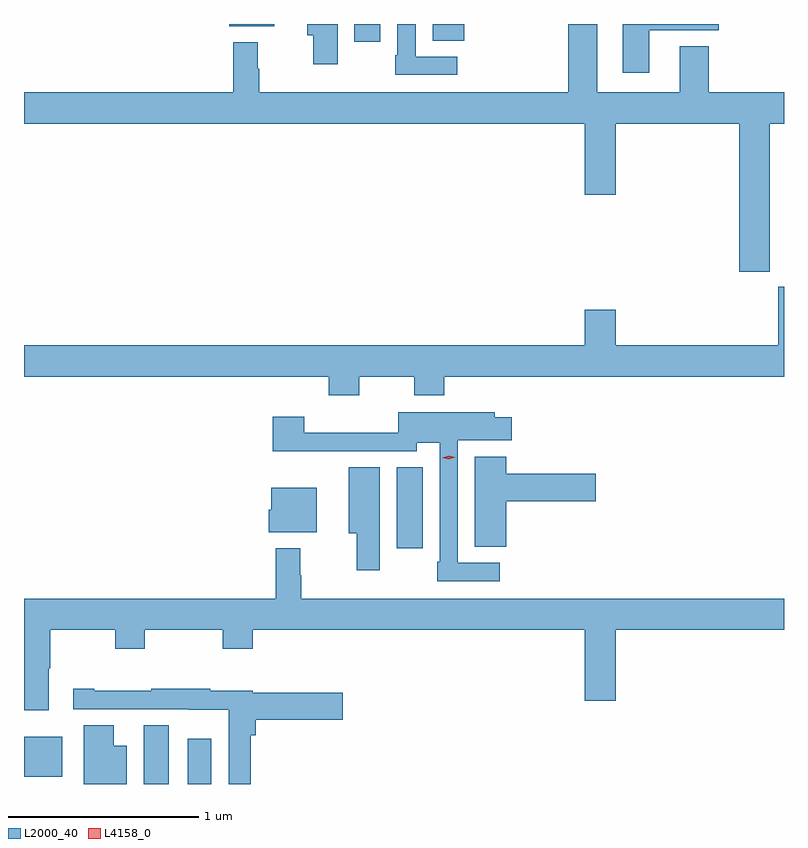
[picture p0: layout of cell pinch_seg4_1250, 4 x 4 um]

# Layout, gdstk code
import gdstk
lib = gdstk.Library(unit=1e-6, precision=1e-09)
def R(c, l, rs):  # rectangles x0, y0, x1, y1
    for r in rs: c.add(gdstk.rectangle(r[:2], r[2:], *l))
def P(c, l, *ps):  # polygons
    for p in ps: c.add(gdstk.Polygon(p, *l))
L2000_40 = (2000, 40)
L4158_0 = (4158, 0)

pinch_seg4_1250 = lib.new_cell('pinch_seg4_1250')
R(pinch_seg4_1250, L2000_40, [(222.626,753.384,222.76,753.692), (222.86,753.384,222.982,753.622), (221.997,753.422,222.199,753.634), (223.958,754.626,224.095,755.051), (223.736,757.29,223.873,757.384), (224.147,757.297,224.314,757.384), (223.077,757.373,223.315,757.384)])
P(pinch_seg4_1250, L2000_40, [(225.921,756.86),(225.997,756.86),(225.997,757.024),(225.602,757.024),(225.602,757.267),(225.449,757.267),(225.449,757.024),(225.013,757.024),(225.013,757.384),(224.861,757.384),(224.861,757.024),(223.235,757.024),(223.235,757.148),(223.228,757.148),(223.228,757.288),(223.099,757.288),(223.099,757.024),(221.997,757.024),(221.997,756.86),(224.948,756.86),(224.948,756.486),(225.112,756.486),(225.112,756.86),(225.761,756.86),(225.761,756.081),(225.921,756.081)],
  [(223.648,757.384),(223.487,757.384),(223.487,757.325),(223.519,757.325),(223.519,757.173),(223.648,757.173)],
  [(224.278,757.212),(224.058,757.212),(224.058,757.384),(223.962,757.384),(223.962,757.219),(223.95,757.219),(223.95,757.116),(224.278,757.116)],
  [(225.289,757.352),(225.654,757.352),(225.654,757.384),(225.149,757.384),(225.149,757.128),(225.289,757.128)],
  [(223.761,755.528),(224.05,755.528),(224.05,755.429),(224.21,755.429),(224.21,755.528),(225.997,755.528),(225.997,756.001),(225.968,756.001),(225.968,755.692),(225.112,755.692),(225.112,755.881),(224.948,755.881),(224.948,755.692),(221.997,755.692),(221.997,755.528),(223.601,755.528),(223.601,755.429),(223.761,755.429)],
  [(224.5,754.548),(224.28,754.548),(224.28,755.192),(224.563,755.192),(224.563,755.314),(224.475,755.314),(224.475,755.341),(223.968,755.341),(223.968,755.234),(223.472,755.234),(223.472,755.317),(223.307,755.317),(223.307,755.135),(223.555,755.135),(223.555,755.136),(224.064,755.136),(224.064,755.18),(224.184,755.18),(224.184,754.555),(224.172,754.555),(224.172,754.452),(224.5,754.452)],
  [(224.536,754.871),(225.007,754.871),(225.007,755.018),(224.536,755.018),(224.536,755.107),(224.369,755.107),(224.369,754.633),(224.536,754.633)],
  [(223.87,755.051),(223.706,755.051),(223.706,754.703),(223.748,754.703),(223.748,754.509),(223.87,754.509)],
  [(223.537,754.942),(223.298,754.942),(223.298,754.827),(223.286,754.827),(223.286,754.709),(223.537,754.709)],
  [(222.127,753.992),(222.135,753.992),(222.135,754.196),(222.478,754.196),(222.478,754.097),(222.633,754.097),(222.633,754.196),(223.042,754.196),(223.042,754.097),(223.202,754.097),(223.202,754.196),(224.948,754.196),(224.948,753.822),(225.112,753.822),(225.112,754.196),(225.997,754.196),(225.997,754.36),(223.457,754.36),(223.457,754.484),(223.45,754.484),(223.45,754.624),(223.321,754.624),(223.321,754.36),(221.997,754.36),(221.997,753.771),(222.127,753.771)],
  [(223.19,753.641),(223.217,753.641),(223.217,753.722),(223.675,753.722),(223.675,753.864),(223.2,753.864),(223.2,753.876),(222.977,753.876),(222.977,753.886),(222.667,753.886),(222.667,753.876),(222.367,753.876),(222.367,753.886),(222.255,753.886),(222.255,753.777),(222.864,753.777),(222.864,753.776),(223.074,753.776),(223.074,753.384),(223.19,753.384)],
  [(222.538,753.586),(222.469,753.586),(222.469,753.692),(222.311,753.692),(222.311,753.384),(222.538,753.384)])
P(pinch_seg4_1250, L4158_0, [(224.232,755.092),(224.198,755.101),(224.197,755.101),(224.198,755.101),(224.232,755.112),(224.266,755.104),(224.267,755.104),(224.266,755.104)])

lib.write_gds('pinch_seg4_1250.gds')
